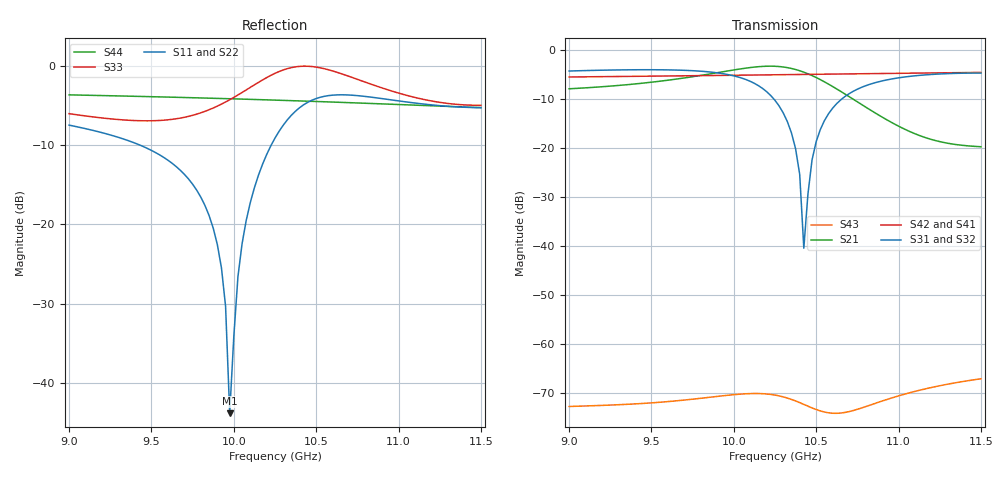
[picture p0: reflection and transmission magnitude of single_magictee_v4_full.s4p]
! Generated from PyAEDT SolutionData; AEDT ExportNetworkData workaround
# GHz S MA R 50
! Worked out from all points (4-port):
!   101 points, 9 GHz to 11.5 GHz, reference 50 ohm
!   strongest paths, dB at 9 GHz, 9.625 GHz, 10.25 GHz, 10.88 GHz, 11.5 GHz:
!     S31: -4.3, -4.0, -10.3, -6.5, -4.7
!     S32: -4.3, -4.0, -10.2, -6.5, -4.7
!     S42: -5.5, -5.3, -5.0, -4.8, -4.6
!     S41: -5.5, -5.3, -5.0, -4.8, -4.6
!     S21: -7.9, -6.0, -3.3, -13.2, -19.7
!     S43: -72.8, -71.7, -70.5, -72.0, -67.2
!   lowest |S11| = -43.9 dB at 9.975 GHz (marker M1), VSWR 1.01, Z = 49.6 - j0.53 ohm
!   |S11| at or under -10 dB: 9.432 GHz to 10.23 GHz (794.1 MHz wide, 8.08 % of centre)
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9  0.4239 1.1  0.4031 -104.4  0.6121 -22.1  0.5322 42.1
   0.4031 -104.4  0.4244 1.1  0.6119 -22.1  0.532 -137.9
   0.6121 -22.1  0.6119 -22.1  0.5009 -174.5  0.0002285 35.1
   0.5322 42.1  0.532 -137.9  0.0002285 35.1  0.6586 -133.0
9.8  0.1484 -110.6  0.5521 134.3  0.6094 -179.5  0.5494 -42.9
     0.5521 134.3  0.1489 -110.6  0.6093 -179.5  0.5492 137.1
     0.6094 -179.5  0.6093 -179.5  0.5073 31.3  0.0002772 -103.5
     0.5494 -42.9  0.5492 137.1  0.0002772 -103.5  0.6297 152.2
9.975  0.006401 -123.6  0.6179 102.7  0.5584 140.7  0.5535 -61.0
       0.6179 102.7  0.006872 -126.1  0.5584 140.7  0.5534 119.1
       0.5584 140.7  0.5584 140.7  0.6135 -1.8  0.0002989 -136.2
       0.5535 -61.0  0.5534 119.1  0.0002989 -136.2  0.6224 135.8
10.325  0.458 -40.7  0.6631 21.7  0.1862 42.2  0.5621 -96.7
        0.6631 21.7  0.4576 -40.6  0.1866 42.1  0.5623 83.3
        0.1862 42.2  0.1866 42.1  0.9646 -92.6  0.0002785 149.9
        0.5621 -96.7  0.5623 83.3  0.0002785 149.9  0.6066 102.9
10.425  0.5712 -66.1  0.5956 -4.0  0.009471 11.8  0.5646 -106.9
        0.5956 -4.0  0.571 -66.1  0.00993 9.8  0.5649 73.2
        0.009471 11.8  0.00993 9.8  0.9999 -124.2  0.00024 132.4
        0.5646 -106.9  0.5649 73.2  0.00024 132.4  0.6018 93.4
10.875  0.6288 -153.9  0.2196 -87.0  0.4733 73.4  0.5765 -152.3
        0.2196 -87.0  0.6291 -153.8  0.4727 73.5  0.5766 27.7
        0.4733 73.4  0.4727 73.5  0.7433 104.9  0.0002513 93.0
        0.5765 -152.3  0.5766 27.7  0.0002513 93.0  0.5789 49.6
11.5  0.5465 134.5  0.1031 -140.8  0.5834 -48.2  0.5919 144.4
      0.1031 -140.8  0.5473 134.5  0.5827 -48.1  0.5919 -35.5
      0.5834 -48.2  0.5827 -48.1  0.5659 -61.2  0.0004384 -16.5
      0.5919 144.4  0.5919 -35.5  0.0004384 -16.5  0.5471 -14.8
